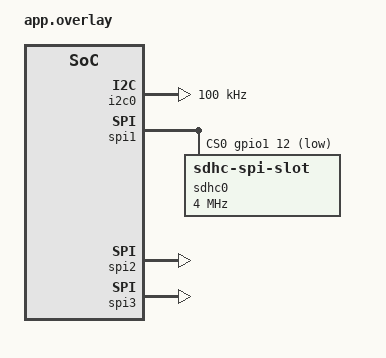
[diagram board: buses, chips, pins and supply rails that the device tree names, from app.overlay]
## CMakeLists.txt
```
cmake_minimum_required(VERSION 3.20.0)
set(DTC_OVERLAY_FILE app.overlay)
find_package(Zephyr REQUIRED HINTS $ENV{ZEPHYR_BASE})

project(daq)

add_subdirectory(driver/sd_card)
add_subdirectory(driver/BME280)
add_subdirectory(driver/bar30)

target_sources(app PRIVATE src/main.c)
```

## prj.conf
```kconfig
# Serial console output for printk() status messages.
CONFIG_SERIAL=y
CONFIG_CONSOLE=y
CONFIG_UART_CONSOLE=y
CONFIG_PRINTK=y

# Extra stack for SD card initialization and FAT filesystem work.
CONFIG_MAIN_STACK_SIZE=4096

# GPIO support for the SD card chip-select pin.
CONFIG_GPIO=y
CONFIG_I2C=y

# SPI bus and SPI-mode SD card host controller.
CONFIG_SPI=y
CONFIG_SDHC=y

# Expose the SD card as a block disk named "SD".
CONFIG_DISK_ACCESS=y

# Zephyr filesystem API plus FAT support for files on the SD card.
CONFIG_FILE_SYSTEM=y
CONFIG_FAT_FILESYSTEM_ELM=y
CONFIG_FS_FATFS_CUSTOM_MOUNT_POINT_COUNT=1
CONFIG_FS_FATFS_CUSTOM_MOUNT_POINTS="SD"
```

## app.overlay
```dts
#include <zephyr/dt-bindings/gpio/gpio.h>
#include <zephyr/dt-bindings/i2c/i2c.h>
#include <zephyr/dt-bindings/pinctrl/nrf-pinctrl.h>

&qspi {
	status = "disabled";
};

&i2c0 {
	compatible = "nordic,nrf-twim";
	status = "okay";
	clock-frequency = <I2C_BITRATE_STANDARD>;
	pinctrl-0 = <&i2c0_default>;
	pinctrl-1 = <&i2c0_sleep>;
	pinctrl-names = "default", "sleep";
};

&i2c0_default {
	group1 {
		psels = <NRF_PSEL(TWIM_SDA, 0, 26)>,
			<NRF_PSEL(TWIM_SCL, 0, 27)>;
	};
};

&i2c0_sleep {
	group1 {
		psels = <NRF_PSEL(TWIM_SDA, 0, 26)>,
			<NRF_PSEL(TWIM_SCL, 0, 27)>;
		low-power-enable;
	};
};

&spi1 {
	status = "okay";
	cs-gpios = <&gpio1 12 GPIO_ACTIVE_LOW>;

	sdhc0: sdhc@0 {
		compatible = "zephyr,sdhc-spi-slot";
		reg = <0>;
		status = "okay";
		power-delay-ms = <10>;
		spi-max-frequency = <4000000>;

		mmc {
			compatible = "zephyr,sdmmc-disk";
			disk-name = "SD";
			status = "okay";
		};
	};
};

&spi2 {
	status = "okay";
	cs-gpios = <&gpio0 0 GPIO_ACTIVE_LOW>;
};

&spi3 {
	status = "okay";
	cs-gpios = <&gpio1 11 GPIO_ACTIVE_LOW>;
};
```

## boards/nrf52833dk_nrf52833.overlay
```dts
/*
 * SPDX-License-Identifier: Apache-2.0
 *
 * Copyright (c) 2022 Nordic Semiconductor ASA
 */


/ {
	zephyr,user {
		io-channels = <&adc 0>;		// P0.02 pin
	};
};

&adc {
	#address-cells = <1>;
	#size-cells = <0>;
	status = "okay";
	channel@0 {
		reg = <0>;
		zephyr,gain = "ADC_GAIN_1";
		zephyr,reference = "ADC_REF_INTERNAL";
		zephyr,acquisition-time = <ADC_ACQ_TIME_DEFAULT>;
		zephyr,input-positive = <NRF_SAADC_AIN0>; /* P0.02 for nRF52xx, P0.04 for nRF53xx */	// NRF_SAADC_VDD
		zephyr,resolution = <12>;
	};
};
```

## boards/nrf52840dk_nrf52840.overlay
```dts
/*
 * SPDX-License-Identifier: Apache-2.0
 *
 * Copyright (c) 2022 Nordic Semiconductor ASA
 */


/ {
	zephyr,user {
		/* switched to channel 1 for diagnostic testing (AIN1 / P0.03) */
		io-channels = <&adc 0>;
	};
};

&adc {
	#address-cells = <1>;
	#size-cells = <0>;
	status = "okay";
	channel@0 {
		reg = <0>;
		zephyr,gain = "ADC_GAIN_1_6";
		zephyr,reference = "ADC_REF_INTERNAL";
		zephyr,acquisition-time = <ADC_ACQ_TIME_DEFAULT>;
		zephyr,input-positive = <NRF_SAADC_AIN0>; /* P0.02 for nRF52xx, P0.04 for nRF53xx */
		zephyr,resolution = <12>;
	};
};
```

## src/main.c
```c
#include <zephyr/kernel.h>
#include <zephyr/device.h>
#include <zephyr/drivers/gpio.h>
#include <zephyr/drivers/i2c.h>
#include <zephyr/drivers/spi.h>
#include <zephyr/fs/fs.h>
#include <zephyr/storage/disk_access.h>
#include <errno.h>
#include <string.h>
#include <ff.h>

#include "sd_card.h"
#include "custom_bme280_driver.h"
#include "bar30.h"
#include "main.h"

#define SD_SPI_NODE DT_NODELABEL(spi1)
#define BAROMETER_I2C_NODE DT_NODELABEL(i2c0)

// ========== Configuration ==========
#define DEBUG 0
//====================================

static const struct device *const sd_spi = DEVICE_DT_GET(SD_SPI_NODE);
static const struct gpio_dt_spec sd_cs = GPIO_DT_SPEC_GET_BY_IDX(SD_SPI_NODE, cs_gpios, 0);
static const struct device *const barometer_i2c = DEVICE_DT_GET(BAROMETER_I2C_NODE);
static struct bme280_dev bme280;

dev_status all_dev_status = 
{
	.BME280 = un_init,
	.Barometer = un_init,
	.IMU = un_init,
	.hall_effect_sensor = un_init,
	.SD_card = un_init
};

/*
* static functions declarations
*/
static int onboard_peripherals_init(void);
static int external_peripherals_init(void);

int main(void)
{
	// static const char data[] = "SD card write test\r\n";
	int ret;
	int close_ret;
	
	//init the data stuct and status struct:
	sd_data_struct data = {0};
	struct bme280_data bme280_data = {0};
	int32_t bar30_pressure_mbar = 0;

	ret = onboard_peripherals_init();
	if (ret != 0) {
		#if DEBUG
		printk("onboard peripheral init failed");
		#endif
		return ret;
	}

	ret = external_peripherals_init();
	if (ret != 0) {
		#if DEBUG
		printk("external peripheral init failed");
		#endif
		return ret;
	}

	/*
	if code got here all peripheral should be initialized
	*/
	all_dev_status.BME280 = pending;
	all_dev_status.Barometer = pending;
	all_dev_status.IMU = pending;
	all_dev_status.hall_effect_sensor = pending;
	all_dev_status.SD_card = pending;

	// geting sd card read ready
	int last_sd_write = k_uptime_get();
	int64_t test_counter = k_uptime_get();
	/*
	measure loop begin
	*/
// return 0;
// sd_card_cleanup();
	while (k_uptime_get() - test_counter < 10000){
		/*
		read data and update status for bme280
		*/
		
		if (all_dev_status.BME280 == pending) {
			ret = custom_bme280_read_sensor_data(&bme280, &bme280_data);
			if (ret != BME280_OK) {
				#if DEBUG
				printk("BME280 read failed: %d\n", ret);
				#endif
				all_dev_status.BME280 = failed;
				return ret;
			}
			else
			{
				#if DEBUG
				printk("BME280 read success!\n");
				printk("Temperature: %.d C\n", (int)bme280_data.temperature);
				printk("Humidity: %.d %%\n", (int)bme280_data.humidity);
				#endif
				all_dev_status.BME280 = complete;
			}
		}

		if (all_dev_status.Barometer == pending) {
			ret = bar30_read_pressure_mbar(&bar30_pressure_mbar);
			if (ret != 0) {
				#if DEBUG
				printk("Bar30 read failed: %d\n", ret);
				#endif
				all_dev_status.Barometer = failed;
				return ret;
			}
			else
			{
				#if DEBUG
				printk("Bar30 read success!\n");
				printk("Pressure: %d mbar\n", bar30_pressure_mbar);
				#endif
				all_dev_status.Barometer = complete;
			}
		}


		if (k_uptime_get() - last_sd_write >= 1000) {
			last_sd_write = k_uptime_get();

			data.temp = (all_dev_status.BME280 == complete) ? (uint8_t)bme280_data.temperature : (uint8_t)-1;
			data.humidity = (all_dev_status.BME280 == complete) ? (uint16_t)bme280_data.humidity : (uint16_t)-1;
			data.pressure = (all_dev_status.Barometer == complete) ? (int32_t)bar30_pressure_mbar : (int32_t)-1;
			data.rpm = 0xff;
			data.x = 0xff;
			data.y = 0xff;
			data.z = 0xff;

			ret = add_sensor_data_to_file(&data);
			if (ret != 0) {
				all_dev_status.SD_card = failed;
				#if DEBUG
					printk("sd card write failed\n");
				#endif
			} else {
				all_dev_status.SD_card = complete;

				//reset all other sensor status
				all_dev_status.BME280 = pending;
				all_dev_status.Barometer = pending;
				#if DEBUG
					printk("sd card write success\n");
				#endif
			}
		}
	}

	/*
	*close the SD card at very end of the firmware
	*/
	close_ret = sd_card_cleanup();
	if (close_ret != 0) {
		ret = close_ret;
	}

	#if DEBUG
	printk("program ended\n");
	#endif

	printk("program ended\n");
	return ret;
}


/*
* static functions definitions
*/

//onboard peripherals initialization gose here, for example the SD card SPI interface
static int sd_card_spi_init(void)
{
	if (!device_is_ready(sd_spi)) {
		return -ENODEV;
	}

	if (!gpio_is_ready_dt(&sd_cs)) {
		return -ENODEV;
	}

	return 0;
}

static int barometer_i2c_init(void)
{
	if (!device_is_ready(barometer_i2c)) {
		return -ENODEV;
	}

	return 0;
}

static int onboard_peripherals_init(void){
	int ret = 0;
	//SPI1 for sd card, cs is P1.12
	ret = sd_card_spi_init();
	if (ret != 0) {
		#if DEBUG
		printk("sd card spi failed! \n");
		#endif
		return ret;
	}

	//SPI3 init for bme280 is within custom_bme280_init()

	//I2C0 for Barometer
	ret = barometer_i2c_init();
	if (ret != 0) {
		#if DEBUG
		printk("barometer i2c failed! \n");
		#endif
		return ret;
	}

	return ret;
}
//external devices/sensors initialization gose here, for example the BME280 sensor and SD card
static int external_peripherals_init(void)
{
	int ret = 0;

	/*
	SD Card Init
	*/
	ret = sd_card_init();
	if (ret != 0) {
		#if DEBUG
		printk("SD card init failed: %d\n", ret);
		#endif
		return ret;
	}
	else{
		#if DEBUG
		printk("SD card init! \n");
		#endif
		all_dev_status.SD_card = init;
	}

	/*
	* BME280 init
	*/
	ret = custom_bme280_init(&bme280);
	if (ret != BME280_OK) {
		#if DEBUG
		printk("BME280 init failed: %d\n", ret);
		#endif
		return ret;
	}
	else
	{
		#if DEBUG
		printk("BME280 init!\n");
		#endif
		all_dev_status.BME280 = init;
	}

	/*
	* Bar30 init
	*/
	(void)bar30_i2c_scan();

	ret = bar30_init();
	if (ret != 0) {
		#if DEBUG
		printk("Bar30 init failed: %d\n", ret);
		#endif
		return ret;
	}
	else
	{
		#if DEBUG
		printk("Bar30 init!\n");
		#endif
		all_dev_status.Barometer = init;
	}

	#if DEBUG
	printk("External peripherals initialized successfully\n");
	#endif

	return ret;
}
```

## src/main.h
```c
#ifndef MAIN_H
#define MAIN_H

#include <stdint.h>

typedef enum{
    un_init = 0,
    init,
    pending,
    pending_calculation,
    failed,
    complete,
}operation_status;

typedef struct 
{
    operation_status BME280;
    operation_status Barometer;
    operation_status IMU;
    operation_status hall_effect_sensor;
    operation_status SD_card;
}dev_status;

//TODO FIND OUT MORE ABOUT OTHER SENSORs
#endif /* MAIN_H */
```
